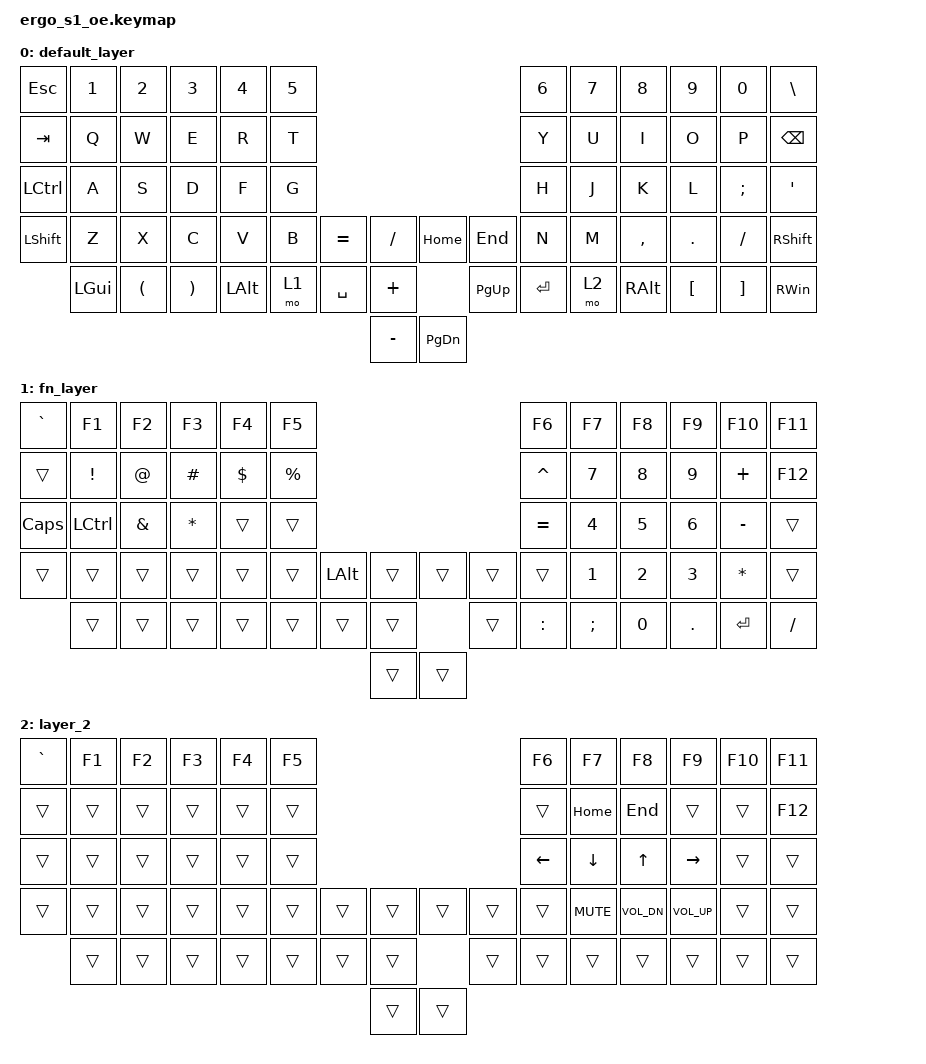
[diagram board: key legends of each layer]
/*
 * Copyright (c) 2021 The ZMK Contributors
 *
 * SPDX-License-Identifier: MIT
 */

#include <behaviors.dtsi>
#include <dt-bindings/zmk/keys.h>

#define DEFAULT 0
#define FN  1

/ {
    keymap {
        compatible = "zmk,keymap";

        default_layer {
            // ---------------------------------------------------------------------------------------------------------------------------------
            // | ESC  |  1   |  2   |  3   |  4   |  5   |                                                   |  6   |  7   |  8   |  9   |  0   | BSPC |
            // | WIN  |  Q   |  W   |  E   |  R   |  T   |                                                   |  Y   |  U   |  I   |  O   |  P   | EQL  |
            // | TAB  |  A   |  S   |  D   |  F   |  G   |                                                   |  H   |  J   |  K   |  L   | SCLN | QUOT |
            // | LCTL |  Z   |  X   |  C   |  V   |  B   |      | CTL  | ALT  |         | CAPS | CTL  |      |  N   |  M   | COMM | DOT  | SLSH | MINS |
            //        | GRV  | BSLS | LEFT | RGHT |      | SHFT |  FN  | HOME |         | PGUP | ENT  | SPC  |      |  UP  |  DN  | LBKT | RBKT |
            //                                                         | END  |         | PGDN |

            bindings = <
&kp ESCAPE      &kp N1        &kp N2    &kp N3                 &kp N4    &kp N5                                                              &kp N6  &kp N7    &kp N8     &kp N9      &kp N0         &kp BACKSLASH
&kp TAB         &kp Q         &kp W     &kp E                  &kp R     &kp T                                                               &kp Y   &kp U     &kp I      &kp O       &kp P          &kp BACKSPACE
&kp LCTRL       &kp A         &kp S     &kp D                  &kp F     &kp G                                                               &kp H   &kp J     &kp K      &kp L       &kp SEMI       &kp SQT
&kp LEFT_SHIFT  &kp Z         &kp X     &kp C                  &kp V     &kp B          &kp EQUAL  &kp SLASH    &kp HOME   &kp END           &kp N   &kp M     &kp COMMA  &kp PERIOD  &kp SLASH      &kp RIGHT_SHIFT
                &kp LEFT_GUI  &kp LPAR  &kp RIGHT_PARENTHESIS  &kp LALT          &mo 1  &kp SPACE  &kp PLUS     &kp PG_UP  &kp ENTER  &mo 2          &kp RALT  &kp LBKT   &kp RBKT    &kp RIGHT_WIN
                                                                                                   &kp MINUS    &kp PG_DN
            >;
        };

        fn_layer {
            // ---------------------------------------------------------------------------------------------------------------------------------
            // |BT_CLR|  F1  |  F2  |  F3  |  F4  |  F5  |                                                   |      | NLCK |  =   |  /   |  *   |      |
            // |      |  F6  |  F7  |  F8  |  F9  |  F10 |                                                   |      |  7   |  8   |  9   |  -   |      |
            // |      |      |      |      |      |      |                                                   |      |  4   |  5   |  6   |  +   |      |
            // |      |      |      |      |      | PTSC |      |      |      |         |      |      |      |      |  1   |  2   |  3   | ENT  |      |
            //        |      | INS  |      |      |      |      |  FN  |      |         |      |      |      |      |      |      |  .   | ENT  |
            //                                                         |      |         |      |

            bindings = <
&kp GRAVE     &kp F1           &kp F2         &kp F3        &kp F4      &kp F5                                                                         &kp F6     &kp F7        &kp F8   &kp F9      &kp F10       &kp F11
&trans        &kp EXCLAMATION  &kp AT_SIGN    &kp HASH      &kp DOLLAR  &kp PERCENT                                                                    &kp CARET  &kp N7        &kp N8   &kp N9      &kp PLUS      &kp F12
&kp CAPSLOCK  &kp LCTRL        &kp AMPERSAND  &kp ASTERISK  &trans      &trans                                                                         &kp EQUAL  &kp N4        &kp N5   &kp N6      &kp MINUS     &trans
&trans        &trans           &trans         &trans        &trans      &trans               &kp LEFT_ALT  &trans    &trans  &trans                    &trans     &kp N1        &kp N2   &kp N3      &kp ASTERISK  &trans
              &trans           &trans         &trans        &trans                   &trans  &trans        &trans    &trans  &kp COLON  &kp SEMICOLON             &kp NUMBER_0  &kp DOT  &kp RETURN  &kp SLASH
                                                                                                           &trans    &trans
            >;
        };

        layer_2 {
            bindings = <
&kp GRAVE  &kp F1  &kp F2  &kp F3  &kp F4  &kp F5                                                    &kp F6    &kp F7      &kp F8        &kp F9        &kp F10  &kp F11
&trans     &trans  &trans  &trans  &trans  &trans                                                    &trans    &kp HOME    &kp END       &trans        &trans   &kp F12
&trans     &trans  &trans  &trans  &trans  &trans                                                    &kp LEFT  &kp DOWN    &kp UP        &kp RIGHT     &trans   &trans
&trans     &trans  &trans  &trans  &trans  &trans          &trans  &trans    &trans  &trans          &trans    &kp C_MUTE  &kp C_VOL_DN  &kp C_VOL_UP  &trans   &trans
           &trans  &trans  &trans  &trans          &trans  &trans  &trans    &trans  &trans  &trans            &trans      &trans        &trans        &trans
                                                                   &trans    &trans
            >;
        };
    };
};
